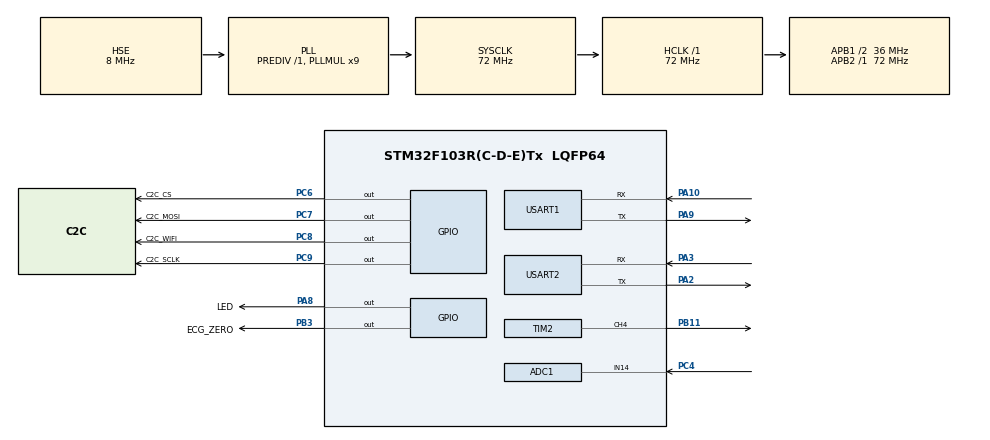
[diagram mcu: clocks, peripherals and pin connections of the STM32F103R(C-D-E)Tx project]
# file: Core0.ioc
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ADC1.Channel-0\#ChannelRegularConversion=ADC_CHANNEL_14
ADC1.ContinuousConvMode=ENABLE
ADC1.NbrOfConversionFlag=1
ADC1.Rank-0\#ChannelRegularConversion=1
ADC1.SamplingTime-0\#ChannelRegularConversion=ADC_SAMPLETIME_41CYCLES_5
ADC1.master=1
Dma.ADC1.0.Direction=DMA_PERIPH_TO_MEMORY
Dma.ADC1.0.Instance=DMA1_Channel1
Dma.ADC1.0.MemDataAlignment=DMA_MDATAALIGN_HALFWORD
Dma.ADC1.0.MemInc=DMA_MINC_ENABLE
Dma.ADC1.0.Mode=DMA_CIRCULAR
Dma.ADC1.0.PeriphDataAlignment=DMA_PDATAALIGN_HALFWORD
Dma.ADC1.0.PeriphInc=DMA_PINC_DISABLE
Dma.ADC1.0.Priority=DMA_PRIORITY_LOW
Dma.Request0=ADC1
FREERTOS.Mutexes01=C2CMutex,Dynamic,NULL
FREERTOS.Tasks01=AlgorithmTask,32,1024,StartAlgorithmTask,Default,NULL,Static,AlgorithmTaskBuffer,AlgorithmTaskControlBlock;C2CTask,24,128,StartC2CTask,Default,NULL,Dynamic,NULL,NULL;LEDDebugTask,24,128,StartLEDDebugTask,Default,NULL,Dynamic,NULL,NULL;InitWifiTask,40,128,StartInitWifiTask,Default,NULL,Dynamic,NULL,NULL
FREERTOS.configCHECK_FOR_STACK_OVERFLOW=2
Mcu.Family=STM32F1
Mcu.Name=STM32F103R(C-D-E)Tx
Mcu.Package=LQFP64
NVIC.DMA1_Channel1_IRQn=true\:5\:0\:false\:false\:true\:true\:false\:true\:true
NVIC.PriorityGroup=NVIC_PRIORITYGROUP_4
NVIC.TIM6_IRQn=true\:15\:0\:false\:false\:true\:false\:false\:true\:true
NVIC.TimeBase=TIM6_IRQn
NVIC.TimeBaseIP=TIM6
NVIC.USART1_IRQn=true\:5\:0\:true\:false\:true\:true\:true\:true\:true
NVIC.USART2_IRQn=true\:5\:0\:false\:false\:true\:true\:true\:true\:true
PA0-WKUP.Mode=SYS_WakeUp0
PA0-WKUP.Signal=SYS_WKUP
PA10.Mode=Asynchronous
PA10.Signal=USART1_RX
PA13.Mode=Serial_Wire
PA13.Signal=SYS_JTMS-SWDIO
PA14.Mode=Serial_Wire
PA14.Signal=SYS_JTCK-SWCLK
PA2.Mode=Asynchronous
PA2.Signal=USART2_TX
PA3.Mode=Asynchronous
PA3.Signal=USART2_RX
PA8.GPIO_Label=LED
PA8.GPIO_Speed=GPIO_SPEED_FREQ_HIGH
PA8.PinState=GPIO_PIN_RESET
PA8.Signal=GPIO_Output
PA9.Mode=Asynchronous
PA9.Signal=USART1_TX
PB11.Signal=S_TIM2_CH4
PB3.GPIO_Label=ECG_ZERO
PB3.GPIO_Speed=GPIO_SPEED_FREQ_HIGH
PB3.PinState=GPIO_PIN_RESET
PB3.Signal=GPIO_Output
PC4.Signal=ADCx_IN14
PC6.GPIO_Label=C2C_CS
PC6.GPIO_Speed=GPIO_SPEED_FREQ_HIGH
PC6.PinState=GPIO_PIN_SET
PC6.Signal=GPIO_Output
PC7.GPIO_Label=C2C_MOSI
PC7.GPIO_Speed=GPIO_SPEED_FREQ_HIGH
PC7.Signal=GPIO_Output
PC8.GPIO_Label=C2C_WIFI
PC8.GPIO_Speed=GPIO_SPEED_FREQ_HIGH
PC8.Signal=GPIO_Output
PC9.GPIO_Label=C2C_SCLK
PC9.GPIO_Speed=GPIO_SPEED_FREQ_HIGH
PC9.PinState=GPIO_PIN_SET
PC9.Signal=GPIO_Output
PD0-OSC_IN.Mode=HSE-External-Oscillator
PD0-OSC_IN.Signal=RCC_OSC_IN
PD1-OSC_OUT.Mode=HSE-External-Oscillator
PD1-OSC_OUT.Signal=RCC_OSC_OUT
ProjectManager.HeapSize=0x200
ProjectManager.StackSize=0x400
ProjectManager.TargetToolchain=MDK-ARM V5.32
RCC.ADCPresc=RCC_ADCPCLK2_DIV6
RCC.AHBFreq_Value=72000000
RCC.APB1CLKDivider=RCC_HCLK_DIV2
RCC.APB1Freq_Value=36000000
RCC.APB1TimFreq_Value=72000000
RCC.APB2Freq_Value=72000000
RCC.APB2TimFreq_Value=72000000
RCC.HCLKFreq_Value=72000000
RCC.PLLMUL=RCC_PLL_MUL9
RCC.PLLSourceVirtual=RCC_PLLSOURCE_HSE
RCC.SYSCLKFreq_VALUE=72000000
RCC.SYSCLKSource=RCC_SYSCLKSOURCE_PLLCLK
RCC.USBFreq_Value=72000000
SH.ADCx_IN14.0=ADC1_IN14,IN14
SH.S_TIM2_CH4.0=TIM2_CH4,PWM Generation4 CH4
TIM2.Channel-PWM\ Generation4\ CH4=TIM_CHANNEL_4
USART1.VirtualMode=VM_ASYNC
USART2.VirtualMode=VM_ASYNC
VP_FREERTOS_VS_CMSIS_V2.Mode=CMSIS_V2
VP_SYS_VS_tim6.Mode=TIM6
VP_TIM2_VS_ClockSourceINT.Mode=Internal
board=custom

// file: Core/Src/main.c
/* USER CODE BEGIN Header */
/**
  ******************************************************************************
  * @file           : main.c
  * @brief          : Main program body
  ******************************************************************************
  * @attention
  *
  * Copyright (c) 2024 STMicroelectronics.
  * All rights reserved.
  *
  * This software is licensed under terms that can be found in the LICENSE file
  * in the root directory of this software component.
  * If no LICENSE file comes with this software, it is provided AS-IS.
  *
  ******************************************************************************
  */
/* USER CODE END Header */
#include "main.h"
#include "cmsis_os.h"
#include "adc.h"
#include "dma.h"
#include "tim.h"
#include "usart.h"
#include "gpio.h"

/* USER CODE BEGIN PV */

char print_buf[PRINT_BUF_SIZE];
uint8_t rec_data;
uint32_t adc_data;

/* USER CODE END PV */

void SystemClock_Config(void);
void MX_FREERTOS_Init(void);

int main(void)
{

  /* MCU Configuration--------------------------------------------------------*/

  /* Reset of all peripherals, Initializes the Flash interface and the Systick. */
  HAL_Init();

  /* Configure the system clock */
  SystemClock_Config();

  /* Initialize all configured peripherals */
  MX_GPIO_Init();
  MX_DMA_Init();
  MX_USART1_UART_Init();
  MX_ADC1_Init();
  MX_USART2_UART_Init();
  MX_TIM2_Init();
  /* USER CODE BEGIN 2 */
	HAL_ADC_Start_DMA(&hadc1, &adc_data, 1);
  HAL_TIM_PWM_Start(&htim2, TIM_CHANNEL_4);

  /* USER CODE END 2 */

  /* Init scheduler */
  osKernelInitialize();

  /* Call init function for freertos objects (in freertos.c) */
  MX_FREERTOS_Init();

  /* Start scheduler */
  osKernelStart();

  /* We should never get here as control is now taken by the scheduler */
  /* Infinite loop */
  while (1)
  {

  }
}

void SystemClock_Config(void)
{
  RCC_OscInitTypeDef RCC_OscInitStruct = {0};
  RCC_ClkInitTypeDef RCC_ClkInitStruct = {0};
  RCC_PeriphCLKInitTypeDef PeriphClkInit = {0};

  /** Initializes the RCC Oscillators according to the specified parameters
  * in the RCC_OscInitTypeDef structure.
  */
  RCC_OscInitStruct.OscillatorType = RCC_OSCILLATORTYPE_HSE;
  RCC_OscInitStruct.HSEState = RCC_HSE_ON;
  RCC_OscInitStruct.HSEPredivValue = RCC_HSE_PREDIV_DIV1;
  RCC_OscInitStruct.HSIState = RCC_HSI_ON;
  RCC_OscInitStruct.PLL.PLLState = RCC_PLL_ON;
  RCC_OscInitStruct.PLL.PLLSource = RCC_PLLSOURCE_HSE;
  RCC_OscInitStruct.PLL.PLLMUL = RCC_PLL_MUL9;
  if (HAL_RCC_OscConfig(&RCC_OscInitStruct) != HAL_OK)
  {
    Error_Handler();
  }

  /** Initializes the CPU, AHB and APB buses clocks
  */
  RCC_ClkInitStruct.ClockType = RCC_CLOCKTYPE_HCLK|RCC_CLOCKTYPE_SYSCLK
                              |RCC_CLOCKTYPE_PCLK1|RCC_CLOCKTYPE_PCLK2;
  RCC_ClkInitStruct.SYSCLKSource = RCC_SYSCLKSOURCE_PLLCLK;
  RCC_ClkInitStruct.AHBCLKDivider = RCC_SYSCLK_DIV1;
  RCC_ClkInitStruct.APB1CLKDivider = RCC_HCLK_DIV2;
  RCC_ClkInitStruct.APB2CLKDivider = RCC_HCLK_DIV1;

  if (HAL_RCC_ClockConfig(&RCC_ClkInitStruct, FLASH_LATENCY_2) != HAL_OK)
  {
    Error_Handler();
  }
  PeriphClkInit.PeriphClockSelection = RCC_PERIPHCLK_ADC;
  PeriphClkInit.AdcClockSelection = RCC_ADCPCLK2_DIV6;
  if (HAL_RCCEx_PeriphCLKConfig(&PeriphClkInit) != HAL_OK)
  {
    Error_Handler();
  }
}

void HAL_TIM_PeriodElapsedCallback(TIM_HandleTypeDef *htim)
{
  if (htim->Instance == TIM6) {
    HAL_IncTick();
  }
}

void Error_Handler(void)
{
  __disable_irq();
  while (1)
  {
  }
}

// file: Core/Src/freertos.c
/* USER CODE BEGIN Header */
/**
  ******************************************************************************
  * File Name          : freertos.c
  * Description        : Code for freertos applications
  ******************************************************************************
  * @attention
  *
  * Copyright (c) 2024 STMicroelectronics.
  * All rights reserved.
  *
  * This software is licensed under terms that can be found in the LICENSE file
  * in the root directory of this software component.
  * If no LICENSE file comes with this software, it is provided AS-IS.
  *
  ******************************************************************************
  */
/* USER CODE END Header */

#include "FreeRTOS.h"
#include "task.h"
#include "main.h"
#include "cmsis_os.h"

typedef StaticTask_t osStaticThreadDef_t;

/* USER CODE BEGIN PD */

#define BUFFER_SIZE     100
#define K               10

#define LEAD_ADC_MAX    2400
#define LEAD_ADC_MIN    1800
#define LEAD_MAX_CNT    100

/* USER CODE END PD */

/* USER CODE BEGIN Variables */

/* 外部变量 */
extern char     print_buf[PRINT_BUF_SIZE];
extern uint8_t  rec_data;
extern uint32_t adc_data;

extern float    Coef[5];                   //滤波器系数
extern float    x1[2];                    //前两个adc输入值
extern float    y1[2];                    //前两个adc输出值

/* 心电算法变量 */
uint16_t ecg_rate;
float    filter_result;
// 峰值标志位，用于检测到峰值时保证数据传输的正确性
bool     peak_flag;

/* 导联状态 */
bool lead_state = false;

/* 预警阈值 */
uint16_t ecg_warning_level_up = 150 - 10, ecg_warning_level_down = 30 + 10;

/* 创建wifi发送任务 */
bool wifi_flag = false;

/* USER CODE END Variables */
/* Definitions for AlgorithmTask */
osThreadId_t AlgorithmTaskHandle;
uint32_t AlgorithmTaskBuffer[ 1024 ];
osStaticThreadDef_t AlgorithmTaskControlBlock;
const osThreadAttr_t AlgorithmTask_attributes = {
  .name = "AlgorithmTask",
  .cb_mem = &AlgorithmTaskControlBlock,
  .cb_size = sizeof(AlgorithmTaskControlBlock),
  .stack_mem = &AlgorithmTaskBuffer[0],
  .stack_size = sizeof(AlgorithmTaskBuffer),
  .priority = (osPriority_t) osPriorityAboveNormal,
};
/* Definitions for C2CTask */
osThreadId_t C2CTaskHandle;
const osThreadAttr_t C2CTask_attributes = {
  .name = "C2CTask",
  .stack_size = 128 * 4,
  .priority = (osPriority_t) osPriorityNormal,
};
/* Definitions for LEDDebugTask */
osThreadId_t LEDDebugTaskHandle;
const osThreadAttr_t LEDDebugTask_attributes = {
  .name = "LEDDebugTask",
  .stack_size = 128 * 4,
  .priority = (osPriority_t) osPriorityNormal,
};
/* Definitions for InitWifiTask */
osThreadId_t InitWifiTaskHandle;
const osThreadAttr_t InitWifiTask_attributes = {
  .name = "InitWifiTask",
  .stack_size = 128 * 4,
  .priority = (osPriority_t) osPriorityHigh,
};
/* Definitions for C2CMutex */
osMutexId_t C2CMutexHandle;
const osMutexAttr_t C2CMutex_attributes = {
  .name = "C2CMutex"
};

/* USER CODE BEGIN FunctionPrototypes */

void CheckLeadState(uint16_t data);
uint16_t EncodeData(uint16_t data);
void WarningLevel(uint16_t level_up, uint16_t level_down);
void WifiAccept(void);

/* USER CODE END FunctionPrototypes */

void StartAlgorithmTask(void *argument);
void StartC2CTask(void *argument);
void StartLEDDebugTask(void *argument);
void StartInitWifiTask(void *argument);

void MX_FREERTOS_Init(void); /* (MISRA C 2004 rule 8.1) */

/* Hook prototypes */
void vApplicationStackOverflowHook(xTaskHandle xTask, signed char *pcTaskName);

/* USER CODE BEGIN 4 */
void vApplicationStackOverflowHook(xTaskHandle xTask, signed char *pcTaskName)
{
   /* Run time stack overflow checking is performed if
   configCHECK_FOR_STACK_OVERFLOW is defined to 1 or 2. This hook function is
   called if a stack overflow is detected. */
}
/* USER CODE END 4 */

void MX_FREERTOS_Init(void) {
  /* Create the mutex(es) */
  /* creation of C2CMutex */
  C2CMutexHandle = osMutexNew(&C2CMutex_attributes);

  /* Create the thread(s) */
  /* creation of AlgorithmTask */
  AlgorithmTaskHandle = osThreadNew(StartAlgorithmTask, NULL, &AlgorithmTask_attributes);

  /* creation of C2CTask */
  C2CTaskHandle = osThreadNew(StartC2CTask, NULL, &C2CTask_attributes);

  /* creation of LEDDebugTask */
  // LEDDebugTaskHandle = osThreadNew(StartLEDDebugTask, NULL, &LEDDebugTask_attributes);

  /* creation of InitWifiTask */
  InitWifiTaskHandle = osThreadNew(StartInitWifiTask, NULL, &InitWifiTask_attributes);

}

void StartAlgorithmTask(void *argument)
{
  /* USER CODE BEGIN StartAlgorithmTask */

  // 初始化滤波器
  Filter_Init();

  // 峰值间隔的时间、当前峰值时刻、上一峰值时刻、ADC采样值
  static uint16_t time, tick, last_tick, data;

  // 波形数据、峰值数据
  uint16_t S1[BUFFER_SIZE], S2[BUFFER_SIZE], S3[BUFFER_SIZE], H;

  /* Infinite loop */
  for(;;)
  {
    // 采样并滤波
    osMutexAcquire(C2CMutexHandle, portMAX_DELAY);
    {
      data = adc_data;
      filter_result = ButterworthFliter((float)data, Coef, x1, y1);
    }
    osMutexRelease(C2CMutexHandle);

    // 导联状态检测
    if(!wifi_flag)
    {
      osMutexAcquire(C2CMutexHandle, portMAX_DELAY);
      {
        CheckLeadState(filter_result);
      }
      osMutexRelease(C2CMutexHandle);
    }

    // 算法核心部分
    for(uint8_t i = BUFFER_SIZE - 1; i >= 1; i--)
      S1[i] = S1[i - 1];
    osMutexAcquire(C2CMutexHandle, portMAX_DELAY);
    {
      S1[0] = (uint16_t)filter_result;
    }
    osMutexRelease(C2CMutexHandle);
    H = 300;
    for(uint8_t i = K; i < BUFFER_SIZE; i++)
    {
      if(S1[i] > S1[i - K])
        S2[i] = 0;
      else
        S2[i] = ABS(S1[i - K] - S1[i]);

      H = MAX(H, S2[i]);

      if(S2[i] > H / 2)
        S3[i] = S2[i] - H / 2;
      else
        S3[i] = 0;
    }

    // 峰值检测：检测到峰值后，计算两个峰值之间的时间间隔，并计算心率
    if(S3[K + 1] > S3[K] && S3[K + 1] > S3[K + 2])
    {
      tick = HAL_GetTick();
      time = tick - last_tick;
      last_tick = tick;
      osMutexAcquire(C2CMutexHandle, portMAX_DELAY);
      {
        ecg_rate = 60 * 1000 / time;
        peak_flag = true;
      }
      osMutexRelease(C2CMutexHandle);

      // 超限报警
      if(!wifi_flag)
        WarningLevel(ecg_warning_level_up, ecg_warning_level_down);
    }
    else
      peak_flag = false;

    if(!wifi_flag)
    {
      osMutexAcquire(C2CMutexHandle, portMAX_DELAY);
      {
        print("%d\r\n", ecg_rate);
      }
      osMutexRelease(C2CMutexHandle);
    }

    // 检测电平，接收来自Core1的启用信号
    WifiAccept();

    vTaskDelay(3);
  }
  /* USER CODE END StartAlgorithmTask */
}

void StartC2CTask(void *argument)
{
  /* USER CODE BEGIN StartC2CTask */
  static uint8_t cnt15;
  /* Infinite loop */
  for(;;)
  {
    // 在没有检测到峰值时，每15次发送一次心率数据
    if(++cnt15 == 15 && !peak_flag)
    {
      osMutexAcquire(C2CMutexHandle, portMAX_DELAY);
      {
        // 发送心率数据
        C2C_Write_Uint16(EncodeData(ecg_rate));
      }
      osMutexRelease(C2CMutexHandle);
    }
    else
    {
      osMutexAcquire(C2CMutexHandle, portMAX_DELAY);
      {
        // 发送波形数据
        C2C_Write_Uint16(EncodeData((uint16_t)filter_result));
      }
      osMutexRelease(C2CMutexHandle);
    }
    cnt15 %= 15;

    vTaskDelay(2);
  }
  /* USER CODE END StartC2CTask */
}

void StartLEDDebugTask(void *argument)
{
  /* USER CODE BEGIN StartLEDDebugTask */

  /* Infinite loop */
  for(;;)
  {
    osMutexAcquire(C2CMutexHandle, portMAX_DELAY);
    {
      if(ecg_rate < 350 && ecg_rate > 20 && lead_state)
        wifi_send_data(ecg_rate);
      else
        wifi_send_data(0);
    }
    osMutexRelease(C2CMutexHandle);

    osDelay(1000);
  }
  /* USER CODE END StartLEDDebugTask */
}

void StartInitWifiTask(void *argument)
{
  /* USER CODE BEGIN StartInitWifiTask */
  /* Infinite loop */
  for(;;)
  {
    // 等待esp8266上电信息发送完成，否则会在串口中断卡住
    wifi_delay(500);

    // 开启串口调试ESP8266的中断
    HAL_UART_Receive_IT(&huart1, &rec_data, 1);
    HAL_UART_Receive_IT(&huart2, &rec_data, 1);

    wifi_set_AP();
    vTaskDelete(NULL);
  }
  /* USER CODE END StartInitWifiTask */
}

/* USER CODE BEGIN Application */

// 软件导联状态检测：当采样值在一定范围内，并持续一段时间，判断为导联
void CheckLeadState(uint16_t data)
{
  // 判断导联状态计数器
  static uint16_t lead_cnt = 0;
  if(LEAD_ADC_MIN < data && data < LEAD_ADC_MAX)
  {
    if(lead_cnt == LEAD_MAX_CNT)
    {
        lead_state = true;
        // HAL_GPIO_WritePin(LED_GPIO_Port, LED_Pin, GPIO_PIN_SET);
    }
    else
      lead_cnt++;
  }
  else
  {
    lead_state = false;
    lead_cnt = 0;
    // HAL_GPIO_WritePin(LED_GPIO_Port, LED_Pin, GPIO_PIN_RESET);
  }
}

// 数据编码：将要发送到Core1的数据与导联状态耦合，放在数据的最高位
uint16_t EncodeData(uint16_t data)
{
  return data | (lead_state << (16 - 1));
}

// 超限报警
void WarningLevel(uint16_t level_up, uint16_t level_down)
{
  static uint8_t cnt5 = 0;

  if((ecg_rate > level_up || ecg_rate < level_down) && lead_state)
  {
    // 待心率稳定后
    if(cnt5 == 1)
    {
      // 设置PWM，即设置蜂鸣器频率
      if(TIM2->CCR4 == 400)
      {
        TIM2->CCR4 = 600;
      }
      else
      {
        TIM2->CCR4 = 400;
      }
    }
    else
      cnt5++;
  }
  else
  {
    cnt5 = 0;
    TIM2->CCR4 = 0;
  }
}

// 接收来自Core1的启用信号
void WifiAccept(void)
{
  if(!wifi_flag && HAL_GPIO_ReadPin(C2C_WIFI_GPIO_Port, C2C_WIFI_Pin) == GPIO_PIN_SET)
  {
    wifi_flag = true;
    HAL_GPIO_WritePin(LED_GPIO_Port, LED_Pin, GPIO_PIN_SET);
    LEDDebugTaskHandle = osThreadNew(StartLEDDebugTask, NULL, &LEDDebugTask_attributes);
    // 关闭蜂鸣器
    TIM2->CCR4 = 0;
    if(C2CTaskHandle)
    {
      vTaskDelete(C2CTaskHandle);
      C2CTaskHandle = NULL;
    }
  }
  else if(wifi_flag && HAL_GPIO_ReadPin(C2C_WIFI_GPIO_Port, C2C_WIFI_Pin) == GPIO_PIN_RESET)
  {
    wifi_flag = false;
    HAL_GPIO_WritePin(LED_GPIO_Port, LED_Pin, GPIO_PIN_RESET);
    C2CTaskHandle = osThreadNew(StartC2CTask, NULL, &C2CTask_attributes);

    if(LEDDebugTaskHandle)
    {
      vTaskDelete(LEDDebugTaskHandle);
      LEDDebugTaskHandle = NULL;
    }

    //发送结束信息
    print_wifi("AT+CIPSEND=0,10\r\n");
    print_wifi("DISCONNECT\r\n");
  }
}

/* USER CODE END Application */
